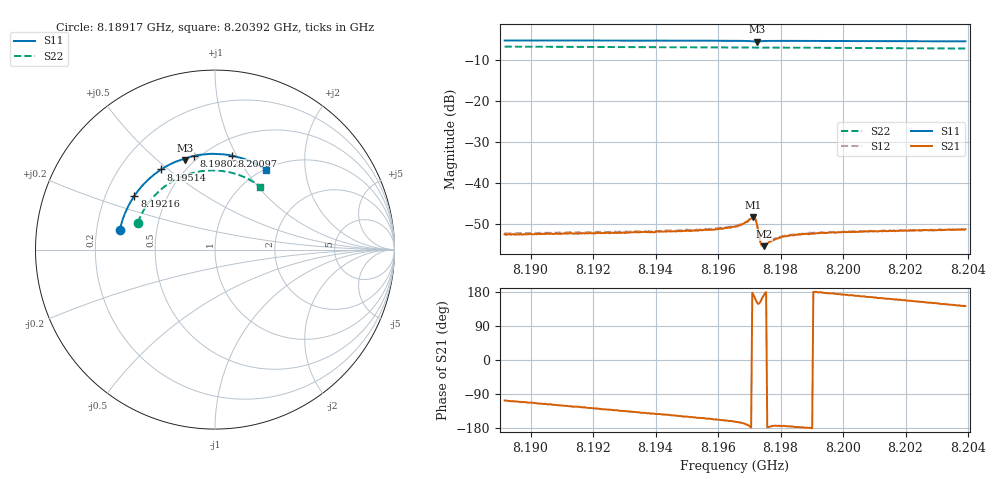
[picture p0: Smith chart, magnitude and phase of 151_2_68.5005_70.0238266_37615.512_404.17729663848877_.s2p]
#  HZ  S  RI  R  50.00
! Rohde & Schwarz Vector Network Analyzer
! Rohde-Schwarz,ZNB20-2Port,1311601062101988,3.16
! Created: UTC 3/20/2024, 4:55:17 PM
! freq[Hz]  re:S11  im:S11  re:S21  im:S21  re:S12  im:S12  re:S22  im:S22
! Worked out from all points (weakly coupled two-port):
!   401 points, 8.18917 GHz to 8.20392 GHz, reference 50 ohm
!   highest |S21| = -48.32 dB at 8.19713 GHz (marker M1); lowest = -55.3 dB at 8.19746 GHz (marker M2)
!   lowest |S11| = -5.6 dB at 8.19724 GHz (marker M3), VSWR 3.20, Z = 22.6 + j31 ohm
!   |S11| at or under -10 dB: nowhere
!   |S22| runs from -7.3 to -6.8 dB; largest |S21 - S12| = 0.00023
!   S11 on the Smith chart (normalised r, x): 8.18917 GHz: 0.30, +0.09; 8.19216 GHz: 0.32, +0.27; 8.19514 GHz: 0.38, +0.47; 8.19802 GHz: 0.47, +0.69; 8.20097 GHz: 0.65, +0.95; 8.20392 GHz: 1.01, +1.25
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8.18917e9  -0.5303 0.1086  -0.000698 -0.00229  -0.000745 -0.00234  -0.4306 0.1488
8.19164e9  -0.4681 0.2697  -0.00138 -0.00201  -0.00152 -0.00203  -0.3645 0.2684
8.192156e9  -0.4486 0.3004  -0.00156 -0.00196  -0.00164 -0.00194  -0.3463 0.2905
8.19411e9  -0.3576 0.4028  -0.00206 -0.00155  -0.00214 -0.00152  -0.2653 0.3625
8.195142e9  -0.2995 0.4468  -0.00229 -0.00129  -0.00242 -0.00124  -0.216 0.3922
8.195842e9  -0.2566 0.4719  -0.00251 -0.00109  -0.00263 -0.00107  -0.1804 0.4086
8.196543e9  -0.2107 0.493  -0.00282 -0.000874  -0.00294 -0.000773  -0.1433 0.4218
8.196764e9  -0.1951 0.4986  -0.00306 -0.000755  -0.00319 -0.0007  -0.1315 0.4253
8.197059e9  -0.1717 0.5021  -0.0037 -0.000106  -0.0038 5.26e-05  -0.1153 0.4293
8.197133e9  -0.1661 0.5003  -0.0038 0.000533  -0.00383 0.00068  -0.1113 0.4302
8.197206e9  -0.1639 0.4971  -0.00333 0.00131  -0.00335 0.00149  -0.1074 0.4309
8.197243e9  -0.1646 0.4968  -0.0028 0.00147  -0.00279 0.00161  -0.1054 0.4314
8.197354e9  -0.1639 0.5026  -0.00173 0.000868  -0.00176 0.00095  -0.0994 0.4328
8.197391e9  -0.1619 0.5051  -0.00165 0.000606  -0.00167 0.000672  -0.0973 0.4333
8.197464e9  -0.157 0.5089  -0.00169 0.000291  -0.00172 0.00031  -0.0933 0.434
8.197759e9  -0.1352 0.5176  -0.00201 -0.000217  -0.00206 -0.00013  -0.077 0.4368
8.198017e9  -0.1165 0.5222  -0.00219 -0.000239  -0.00222 -0.00015  -0.0624 0.4386
8.198386e9  -0.0904 0.5272  -0.00232 -0.000181  -0.0024 -9.9e-05  -0.0416 0.4405
8.199013e9  -0.0458 0.5324  -0.00244 -9.51e-06  -0.00249 0.000105  -0.00618 0.4412
8.200967e9  0.092 0.5241  -0.00251 0.000646  -0.00251 0.000781  0.1033 0.4253
8.201483e9  0.1276 0.5159  -0.00249 0.000834  -0.00249 0.000958  0.1314 0.4164
8.203916e9  0.2838 0.4453  -0.00219 0.00169  -0.0021 0.00175  0.2533 0.3496
